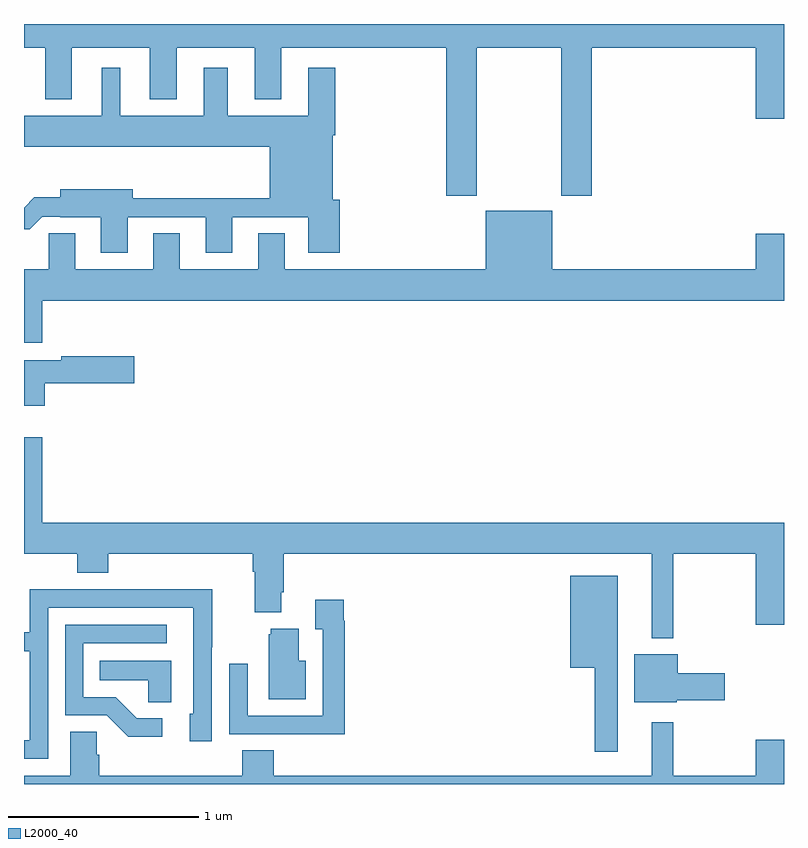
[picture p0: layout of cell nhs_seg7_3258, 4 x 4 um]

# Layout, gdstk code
import gdstk
lib = gdstk.Library(unit=1e-6, precision=1e-09)
def P(c, l, *ps):  # polygons
    for p in ps: c.add(gdstk.Polygon(p, *l))
L2000_40 = (2000, 40)

nhs_seg7_3258 = lib.new_cell('nhs_seg7_3258')
P(nhs_seg7_3258, L2000_40, [(319.383,1073.876),(319.828,1073.876),(319.828,1073.097),(319.988,1073.097),(319.988,1073.876),(320.852,1073.876),(320.852,1073.502),(321,1073.502),(321,1074),(317,1074),(317,1073.876),(317.111,1073.876),(317.111,1073.603),(317.251,1073.603),(317.251,1073.876),(317.663,1073.876),(317.663,1073.603),(317.803,1073.603),(317.803,1073.876),(318.215,1073.876),(318.215,1073.603),(318.355,1073.603),(318.355,1073.876),(319.223,1073.876),(319.223,1073.097),(319.383,1073.097)],
  [(317.545,1072.983),(317.957,1072.983),(317.957,1072.797),(318.097,1072.797),(318.097,1072.983),(318.497,1072.983),(318.497,1072.797),(318.662,1072.797),(318.662,1073.076),(318.625,1073.076),(318.625,1073.414),(318.638,1073.414),(318.638,1073.77),(318.497,1073.77),(318.497,1073.518),(318.073,1073.518),(318.073,1073.77),(317.945,1073.77),(317.945,1073.518),(317.506,1073.518),(317.506,1073.77),(317.408,1073.77),(317.408,1073.518),(317,1073.518),(317,1073.354),(318.293,1073.354),(318.293,1073.084),(317.572,1073.084),(317.572,1073.131),(317.192,1073.131),(317.192,1073.087),(317.054,1073.087),(317,1073.033),(317,1072.919),(317.03,1072.919),(317.097,1072.986),(317.191,1072.986),(317.191,1072.983),(317.405,1072.983),(317.405,1072.797),(317.545,1072.797)],
  [(317.095,1072.544),(321,1072.544),(321,1072.897),(320.852,1072.897),(320.852,1072.708),(319.78,1072.708),(319.78,1073.017),(319.43,1073.017),(319.43,1072.708),(318.373,1072.708),(318.373,1072.898),(318.233,1072.898),(318.233,1072.708),(317.821,1072.708),(317.821,1072.898),(317.681,1072.898),(317.681,1072.708),(317.269,1072.708),(317.269,1072.898),(317.13,1072.898),(317.13,1072.708),(317,1072.708),(317,1072.323),(317.095,1072.323)],
  [(317.11,1072.109),(317.581,1072.109),(317.581,1072.251),(317.196,1072.251),(317.196,1072.231),(317,1072.231),(317,1071.992),(317.11,1071.992)],
  [(320.417,1071.212),(320.852,1071.212),(320.852,1070.838),(321,1070.838),(321,1071.376),(317.095,1071.376),(317.095,1071.826),(317,1071.826),(317,1071.212),(317.279,1071.212),(317.279,1071.113),(317.444,1071.113),(317.444,1071.212),(318.203,1071.212),(318.203,1071.116),(318.215,1071.116),(318.215,1070.903),(318.355,1070.903),(318.355,1071.01),(318.368,1071.01),(318.368,1071.212),(320.303,1071.212),(320.303,1070.768),(320.417,1070.768)],
  [(320.125,1071.097),(319.874,1071.097),(319.874,1070.612),(320.004,1070.612),(320.004,1070.169),(320.125,1070.169)],
  [(317.127,1070.928),(317.892,1070.928),(317.892,1070.37),(317.873,1070.37),(317.873,1070.226),(317.988,1070.226),(317.988,1070.719),(317.991,1070.719),(317.991,1071.026),(317.527,1071.026),(317.527,1071.024),(317.031,1071.024),(317.031,1070.799),(317,1070.799),(317,1070.698),(317.031,1070.698),(317.031,1070.229),(317,1070.229),(317,1070.133),(317.127,1070.133)],
  [(318.689,1070.858),(318.682,1070.858),(318.682,1070.971),(318.533,1070.971),(318.533,1070.815),(318.573,1070.815),(318.573,1070.358),(318.177,1070.358),(318.177,1070.632),(318.081,1070.632),(318.081,1070.262),(318.397,1070.262),(318.397,1070.261),(318.689,1070.261)],
  [(317.728,1070.346),(317.593,1070.346),(317.482,1070.457),(317.313,1070.457),(317.313,1070.742),(317.752,1070.742),(317.752,1070.838),(317.217,1070.838),(317.217,1070.361),(317.436,1070.361),(317.549,1070.249),(317.728,1070.249)],
  [(318.484,1070.65),(318.445,1070.65),(318.445,1070.818),(318.299,1070.818),(318.299,1070.787),(318.287,1070.787),(318.287,1070.447),(318.484,1070.447)],
  [(320.436,1070.44),(320.689,1070.44),(320.689,1070.582),(320.44,1070.582),(320.44,1070.683),(320.213,1070.683),(320.213,1070.429),(320.436,1070.429)],
  [(317.776,1070.65),(317.398,1070.65),(317.398,1070.546),(317.655,1070.546),(317.655,1070.431),(317.776,1070.431)],
  [(318.314,1070.177),(318.149,1070.177),(318.149,1070.044),(317.396,1070.044),(317.396,1070.153),(317.382,1070.153),(317.382,1070.276),(317.243,1070.276),(317.243,1070.044),(317,1070.044),(317,1070),(321,1070),(321,1070.233),(320.852,1070.233),(320.852,1070.044),(320.417,1070.044),(320.417,1070.326),(320.303,1070.326),(320.303,1070.044),(318.314,1070.044)])

lib.write_gds('nhs_seg7_3258.gds')
